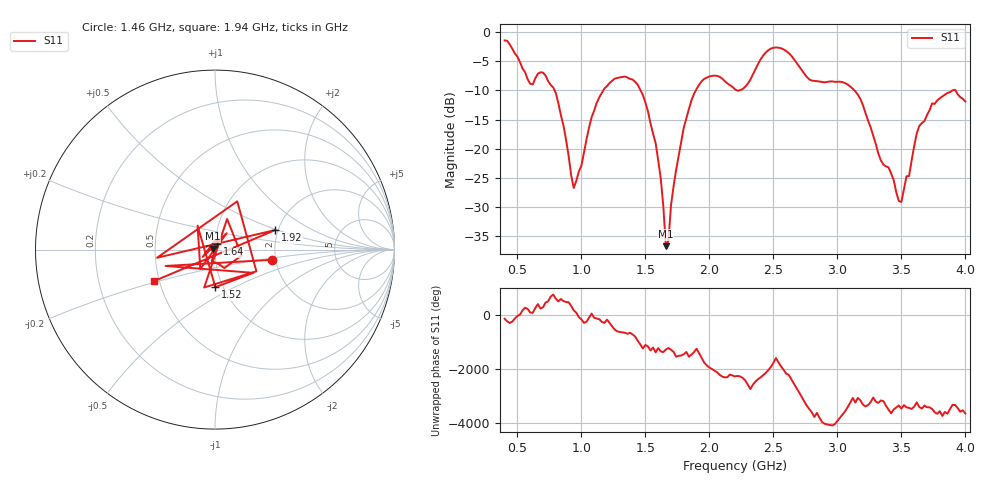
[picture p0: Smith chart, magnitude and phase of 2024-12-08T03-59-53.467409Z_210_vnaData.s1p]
!Created with skrf (http://scikit-rf.org).
# Hz S RI R 50.0
!freq ReS11 ImS11
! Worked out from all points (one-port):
!   181 points, 400 MHz to 4 GHz, reference 50 ohm
!   lowest |S11| = -36.7 dB at 1.66 GHz (marker M1), VSWR 1.03, Z = 48.7 + j0.545 ohm
!   |S11| at or under -10 dB: 790.8 MHz to 1.171 GHz (380.1 MHz wide, 38.8 % of centre); 1.463 GHz to 1.894 GHz (430.9 MHz wide, 25.7 % of centre); 3.133 GHz to 3.898 GHz (765 MHz wide, 21.8 % of centre) (the widest 3 of 5)
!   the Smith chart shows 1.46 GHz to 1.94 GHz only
!   S11 on the Smith chart (normalised r, x): 1.46 GHz: 1.90, -0.24; 1.52 GHz: 0.92, -0.40; 1.64 GHz: 1.02, +0.06; 1.92 GHz: 1.94, +0.48; 1.94 GHz: 0.47, -0.19
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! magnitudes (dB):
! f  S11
! 400 MHz  -1.4
! 600 MHz  -8.9
! 720 MHz  -7.5
! 860 MHz  -16.0
! 940 MHz  -26.7
! 1.12 GHz  -12.1
! 1.3 GHz  -7.8
! 1.46 GHz  -9.9
! 1.52 GHz  -13.6
! 1.58 GHz  -19.0
! 1.64 GHz  -29.8
! 1.66 GHz  -36.7
! 1.68 GHz  -35.7
! 1.7 GHz  -29.7
! 1.76 GHz  -21.2
! 1.92 GHz  -9.0
! 1.94 GHz  -8.4
! 2.2 GHz  -9.8
! 2.48 GHz  -2.8
! 2.66 GHz  -4.6
! 2.78 GHz  -8.1
! 3.1 GHz  -9.3
! 3.48 GHz  -28.9
! 3.56 GHz  -24.6
! 3.62 GHz  -17.3
! 3.74 GHz  -12.2
! 3.92 GHz  -9.9
! 4 GHz  -11.9
